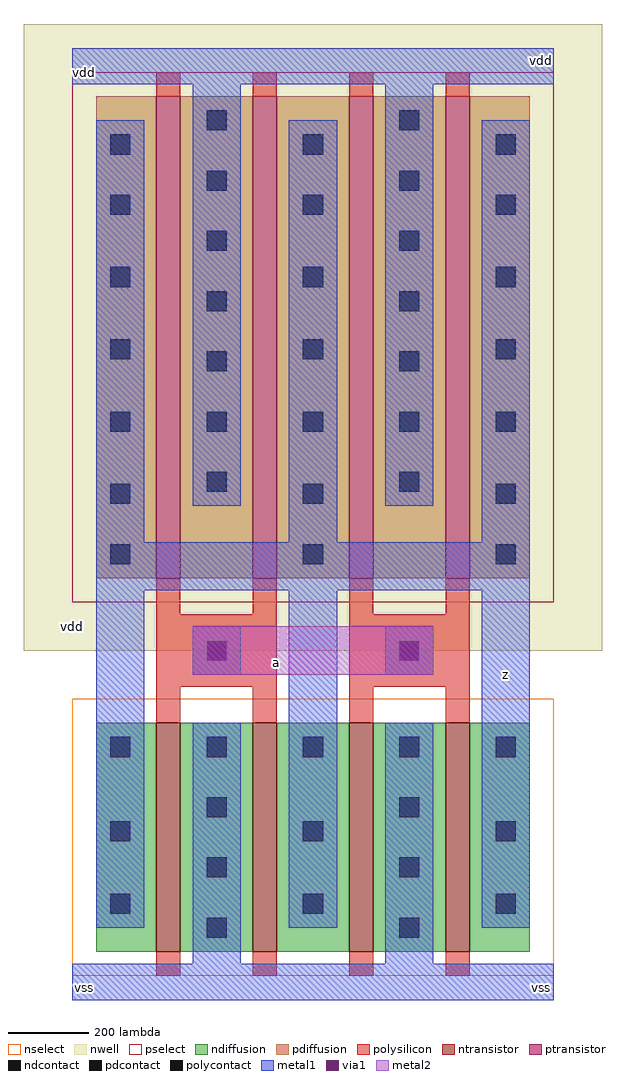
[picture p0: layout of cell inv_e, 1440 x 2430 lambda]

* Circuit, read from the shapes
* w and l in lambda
.subckt inv_e z a vdd vss
M1 vss a z VSUBS nfet w=570 l=60 m=4
M2 vdd a z vdd pfet w=1200 l=60 m=4
.ends

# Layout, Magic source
magic
tech amic5n
<< nwell >>
rect -120 870 1320 2430
<< nselect >>
rect 0 60 1200 750
<< pselect >>
rect 0 990 1200 2310
<< ntransistor >>
rect 210 120 270 690
rect 450 120 510 690
rect 690 120 750 690
rect 930 120 990 690
<< ptransistor >>
rect 210 1050 270 2250
rect 450 1050 510 2250
rect 690 1050 750 2250
rect 930 1050 990 2250
<< ndiffusion >>
rect 60 120 210 690
rect 270 120 450 690
rect 510 120 690 690
rect 750 120 930 690
rect 990 120 1140 690
<< pdiffusion >>
rect 60 1050 210 2250
rect 270 1050 450 2250
rect 510 1050 690 2250
rect 750 1050 930 2250
rect 990 1050 1140 2250
<< polysilicon >>
rect 210 2250 270 2310
rect 450 2250 510 2310
rect 690 2250 750 2310
rect 930 2250 990 2310
rect 210 960 270 1050
rect 450 960 510 1050
rect 210 780 510 960
rect 210 690 270 780
rect 450 690 510 780
rect 690 960 750 1050
rect 930 960 990 1050
rect 690 780 990 960
rect 690 690 750 780
rect 930 690 990 780
rect 210 60 270 120
rect 450 60 510 120
rect 690 60 750 120
rect 930 60 990 120
<< pdcontact >>
rect 335 2165 385 2215
<< pdcontact >>
rect 815 2165 865 2215
<< pdcontact >>
rect 95 2105 145 2155
<< pdcontact >>
rect 575 2105 625 2155
<< pdcontact >>
rect 1055 2105 1105 2155
<< pdcontact >>
rect 335 2015 385 2065
<< pdcontact >>
rect 815 2015 865 2065
<< pdcontact >>
rect 95 1955 145 2005
<< pdcontact >>
rect 575 1955 625 2005
<< pdcontact >>
rect 1055 1955 1105 2005
<< pdcontact >>
rect 335 1865 385 1915
<< pdcontact >>
rect 815 1865 865 1915
<< pdcontact >>
rect 95 1775 145 1825
<< pdcontact >>
rect 575 1775 625 1825
<< pdcontact >>
rect 1055 1775 1105 1825
<< pdcontact >>
rect 335 1715 385 1765
<< pdcontact >>
rect 815 1715 865 1765
<< pdcontact >>
rect 95 1595 145 1645
<< pdcontact >>
rect 335 1565 385 1615
<< pdcontact >>
rect 575 1595 625 1645
<< pdcontact >>
rect 815 1565 865 1615
<< pdcontact >>
rect 1055 1595 1105 1645
<< pdcontact >>
rect 95 1415 145 1465
<< pdcontact >>
rect 335 1415 385 1465
<< pdcontact >>
rect 575 1415 625 1465
<< pdcontact >>
rect 815 1415 865 1465
<< pdcontact >>
rect 1055 1415 1105 1465
<< pdcontact >>
rect 95 1235 145 1285
<< pdcontact >>
rect 335 1265 385 1315
<< pdcontact >>
rect 575 1235 625 1285
<< pdcontact >>
rect 815 1265 865 1315
<< pdcontact >>
rect 1055 1235 1105 1285
<< pdcontact >>
rect 95 1085 145 1135
<< pdcontact >>
rect 575 1085 625 1135
<< pdcontact >>
rect 1055 1085 1105 1135
<< polycontact >>
rect 335 845 385 895
<< polycontact >>
rect 815 845 865 895
<< ndcontact >>
rect 95 605 145 655
<< ndcontact >>
rect 335 605 385 655
<< ndcontact >>
rect 575 605 625 655
<< ndcontact >>
rect 815 605 865 655
<< ndcontact >>
rect 1055 605 1105 655
<< ndcontact >>
rect 335 455 385 505
<< ndcontact >>
rect 815 455 865 505
<< ndcontact >>
rect 95 395 145 445
<< ndcontact >>
rect 575 395 625 445
<< ndcontact >>
rect 1055 395 1105 445
<< ndcontact >>
rect 335 305 385 355
<< ndcontact >>
rect 815 305 865 355
<< ndcontact >>
rect 95 215 145 265
<< ndcontact >>
rect 575 215 625 265
<< ndcontact >>
rect 1055 215 1105 265
<< ndcontact >>
rect 335 155 385 205
<< ndcontact >>
rect 815 155 865 205
<< metal1 >>
rect 0 2280 1200 2370
rect 60 1140 180 2190
rect 300 1230 420 2280
rect 540 1140 660 2190
rect 780 1230 900 2280
rect 1020 1140 1140 2190
rect 60 1020 1140 1140
rect 60 180 180 1020
rect 300 810 420 930
rect 300 90 420 690
rect 540 180 660 1020
rect 780 810 900 930
rect 780 90 900 690
rect 1020 180 1140 1020
rect 0 0 1200 90
<< metal2 >>
rect 300 810 900 930
<< via1 >>
rect 335 845 385 895
rect 815 845 865 895
<< labels >>
flabel nwell  0 930 0 930 2 FreeSans 400 0 0 0 vdd
flabel metal1 s 1080 810 1080 810 2 FreeSans 400 0 0 0 z
port 1 ne
flabel metal2 s 510 840 510 840 2 FreeSans 400 0 0 0 a
port 2 ne
flabel metal1 s 30 30 30 30 2 FreeSans 400 0 0 0 vss
port 4 ne
flabel metal1 s 1170 30 1170 30 8 FreeSans 400 0 0 0 vss
flabel metal1 s 30 2310 30 2310 2 FreeSans 400 0 0 0 vdd
port 3 ne
flabel metal1 s 1170 2340 1170 2340 6 FreeSans 400 0 0 0 vdd
<< end >>
